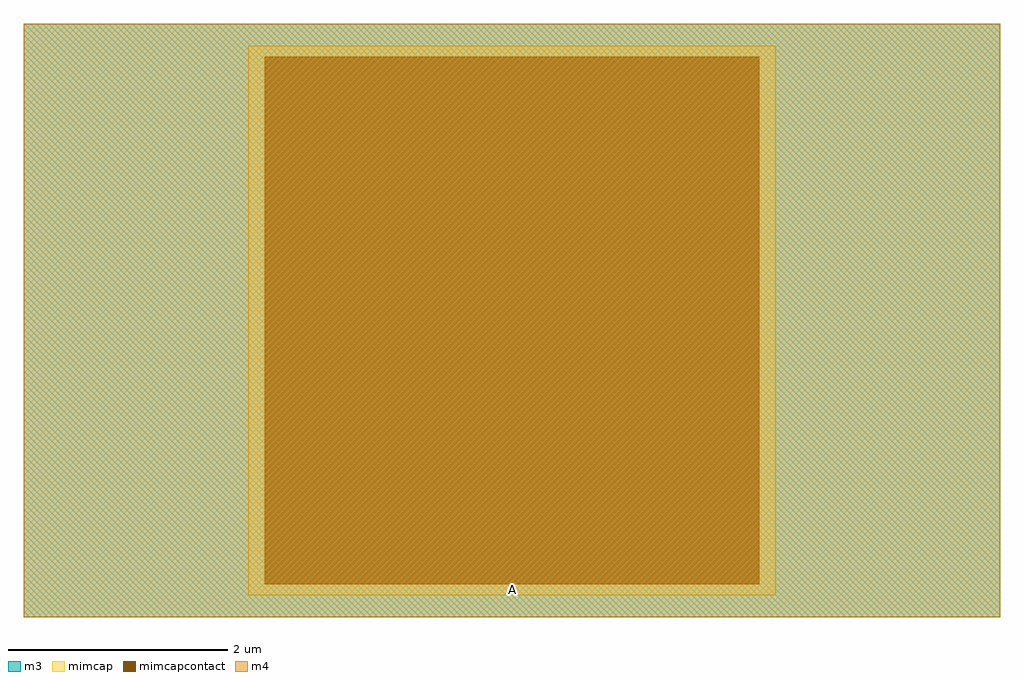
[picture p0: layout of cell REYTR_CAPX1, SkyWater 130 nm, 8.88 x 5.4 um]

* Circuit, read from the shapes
.subckt REYTR_CAPX1 A B
XC1 B A sky130_fd_pr__cap_mim_m3_1 w=4.8 l=5
.ends

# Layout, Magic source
magic
tech sky130A
magscale 1 2
<< m3 >>
rect 0 0 1776 100
rect 0 0 1776 100
rect 0 0 1776 1080
<< m4 >>
rect 0 0 1776 100
rect 0 0 1776 100
rect 0 0 1776 1080
<< mimcap >>
rect 408 40 1368 1040
<< mimcapcontact >>
rect 438 60 1338 1020
<< labels >>
flabel m3 s 0 0 1776 100 0 FreeSans 400 0 0 0 A
port 1 nsew signal bidirectional
flabel m4 s 0 0 1776 100 0 FreeSans 400 0 0 0 B
port 2 nsew signal bidirectional
<< properties >>
string FIXED_BBOX 0 0 1776 1080
<< end >>
